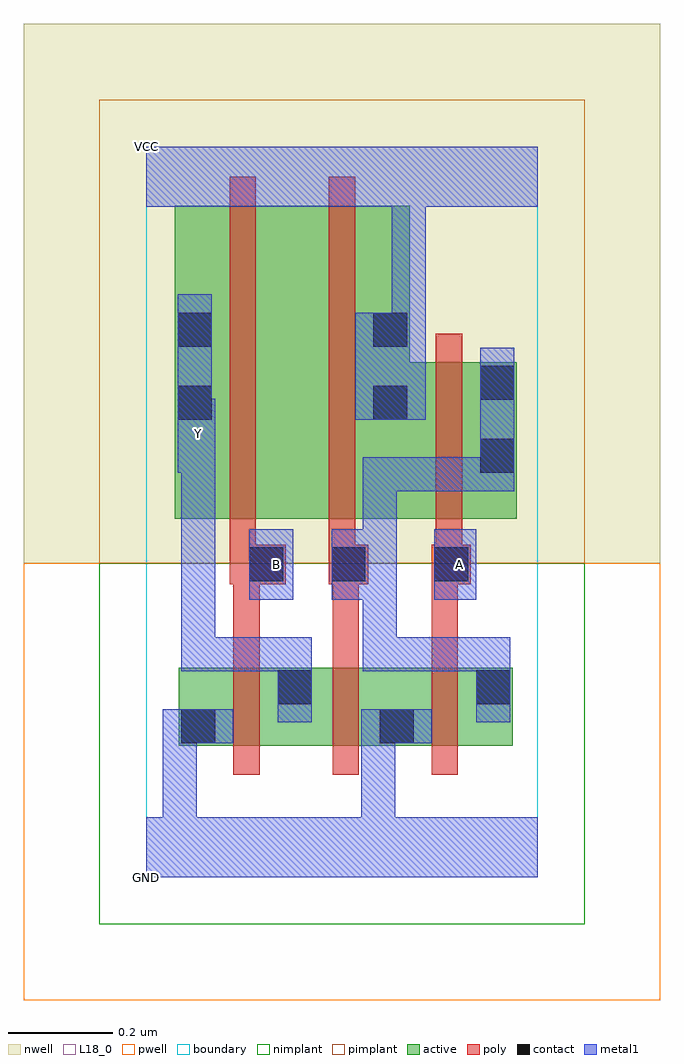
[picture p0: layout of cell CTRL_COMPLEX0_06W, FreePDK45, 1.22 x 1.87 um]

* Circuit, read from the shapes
.subckt CTRL_COMPLEX0_06W A B GND VCC Y
M1 Y B GND VSUBS nfet w=0.15u l=0.05u
M2 GND n1 Y VSUBS nfet w=0.15u l=0.05u
M3 n1 A GND VSUBS nfet w=0.15u l=0.05u
M4 n2 B Y n3 pfet w=0.6u l=0.05u
M5 VCC n1 n2 n3 pfet w=0.6u l=0.05u
M6 n1 A VCC n3 pfet w=0.3u l=0.05u
.ends

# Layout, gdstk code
import gdstk
lib = gdstk.Library(unit=1e-6, precision=1e-09)
def R(c, l, rs):  # rectangles x0, y0, x1, y1
    for r in rs: c.add(gdstk.rectangle(r[:2], r[2:], *l))
def A(c, l, x, y, w, h, nx, ny, dx, dy):  # array of equal rectangles
    R(c, l, [(x+i*dx, y+j*dy, x+i*dx+w, y+j*dy+h) for i in range(nx) for j in range(ny)])
active = (1, 0)
pwell = (2, 0)
nwell = (3, 0)
nimplant = (4, 0)
pimplant = (5, 0)
poly = (9, 0)
contact = (10, 0)
metal1 = (11, 0)
L18_0 = (18, 0)
boundary = (235, 0)

ctrl_complex0_06w = lib.new_cell('CTRL_COMPLEX0_06W')
R(ctrl_complex0_06w, active, [(0.062,0.252,0.137,0.402), (0.062,0.252,0.322,0.402), (0.247,0.252,0.322,0.402), (0.247,0.252,0.517,0.402), (0.442,0.252,0.517,0.402), (0.442,0.252,0.702,0.402), (0.627,0.252,0.702,0.402), (0.055,0.687,0.28,1.287), (0.055,0.687,0.16,1.2), (0.28,0.687,0.505,1.287), (0.43,0.687,0.71,0.987), (0.43,0.687,0.505,1.087), (0.635,0.687,0.71,0.985)])
R(ctrl_complex0_06w, pwell, [(-0.235,-0.235,0.985,0.602)])
R(ctrl_complex0_06w, nwell, [(-0.235,0.602,0.985,1.635)])
R(ctrl_complex0_06w, nimplant, [(-0.09,-0.09,0.84,0.602)])
R(ctrl_complex0_06w, pimplant, [(-0.09,0.602,0.84,1.49)])
A(ctrl_complex0_06w, poly, 0.167, 0.197, 0.05, 0.26, 3, 1, 0.19, 0)
A(ctrl_complex0_06w, poly, 0.167, 0.407, 0.05, 0.205, 3, 1, 0.19, 0)
R(ctrl_complex0_06w, poly, [(0.16,0.562,0.267,0.637), (0.35,0.562,0.425,0.637), (0.547,0.562,0.622,0.637), (0.16,0.587,0.21,0.682), (0.35,0.587,0.4,0.682), (0.555,0.587,0.605,0.682), (0.16,0.632,0.21,1.342), (0.35,0.632,0.4,1.342), (0.555,0.632,0.605,1.042)])
R(ctrl_complex0_06w, contact, [(0.067,0.257,0.132,0.322), (0.447,0.257,0.512,0.322), (0.252,0.332,0.317,0.397), (0.632,0.332,0.697,0.397), (0.197,0.567,0.262,0.632), (0.355,0.567,0.42,0.632), (0.552,0.567,0.617,0.632), (0.64,0.775,0.705,0.84), (0.06,0.877,0.125,0.942), (0.435,0.877,0.5,0.942), (0.64,0.915,0.705,0.98), (0.06,1.017,0.125,1.082), (0.435,1.017,0.5,1.082)])
R(ctrl_complex0_06w, metal1, [(0,0,0.75,0.115), (0.032,0.05,0.097,0.115), (0.032,0.05,0.097,0.115), (0.032,0.05,0.097,0.115), (0.032,0.05,0.097,0.115), (0.032,0.05,0.097,0.322), (0.412,0.05,0.477,0.115), (0.412,0.05,0.477,0.115), (0.412,0.05,0.477,0.322), (0.032,0.257,0.167,0.322), (0.412,0.257,0.477,0.322), (0.412,0.257,0.477,0.322), (0.412,0.257,0.547,0.322), (0.252,0.297,0.317,0.46), (0.632,0.297,0.697,0.432), (0.632,0.367,0.697,0.432), (0.632,0.367,0.697,0.46), (0.067,0.395,0.132,0.46), (0.067,0.395,0.132,0.46), (0.067,0.395,0.132,0.46), (0.067,0.395,0.317,0.46), (0.067,0.395,0.132,0.84), (0.415,0.395,0.48,0.46), (0.415,0.395,0.697,0.46), (0.415,0.395,0.48,0.597), (0.197,0.532,0.282,0.667), (0.355,0.532,0.42,0.667), (0.355,0.532,0.48,0.597), (0.415,0.532,0.48,0.597), (0.415,0.532,0.48,0.805), (0.552,0.532,0.632,0.667), (0.415,0.74,0.48,0.805), (0.415,0.74,0.705,0.805), (0.64,0.74,0.705,0.805), (0.64,0.74,0.705,0.805), (0.64,0.74,0.705,1.015), (0.06,0.775,0.132,0.917), (0.06,0.842,0.125,0.907), (0.06,0.842,0.125,1.117), (0.4,0.877,0.535,1.082), (0.47,1.017,0.535,1.35), (0,1.285,0.75,1.4)])
R(ctrl_complex0_06w, L18_0, [(0,0,0.75,0.115), (0.032,0.05,0.097,0.115), (0.032,0.05,0.097,0.115), (0.032,0.05,0.097,0.115), (0.032,0.05,0.097,0.115), (0.032,0.05,0.097,0.322), (0.412,0.05,0.477,0.115), (0.412,0.05,0.477,0.115), (0.412,0.05,0.477,0.322), (0.032,0.257,0.167,0.322), (0.412,0.257,0.477,0.322), (0.412,0.257,0.477,0.322), (0.412,0.257,0.547,0.322), (0.252,0.297,0.317,0.46), (0.067,0.395,0.132,0.46), (0.067,0.395,0.132,0.46), (0.067,0.395,0.132,0.46), (0.067,0.395,0.132,0.84), (0.067,0.395,0.317,0.46), (0.197,0.532,0.282,0.667), (0.552,0.532,0.632,0.667), (0.217,0.567,0.282,0.632), (0.567,0.567,0.632,0.632), (0.06,0.775,0.132,0.917), (0.067,0.817,0.132,0.882), (0.06,0.842,0.125,0.907), (0.06,0.842,0.125,1.117), (0.4,0.877,0.535,1.082), (0.47,1.017,0.535,1.35), (0,1.285,0.75,1.4)])
R(ctrl_complex0_06w, boundary, [(0,0,0.75,1.4)])
ctrl_complex0_06w.add(gdstk.Label('A', (0.6,0.6), layer=11, texttype=0))
ctrl_complex0_06w.add(gdstk.Label('B', (0.25,0.6), layer=11, texttype=0))
ctrl_complex0_06w.add(gdstk.Label('Y', (0.1,0.85), layer=11, texttype=0))
ctrl_complex0_06w.add(gdstk.Label('VCC', (0,1.4), layer=11, texttype=0))
ctrl_complex0_06w.add(gdstk.Label('GND', (0,0), layer=11, texttype=0))

lib.write_gds('CTRL_COMPLEX0_06W.gds')
